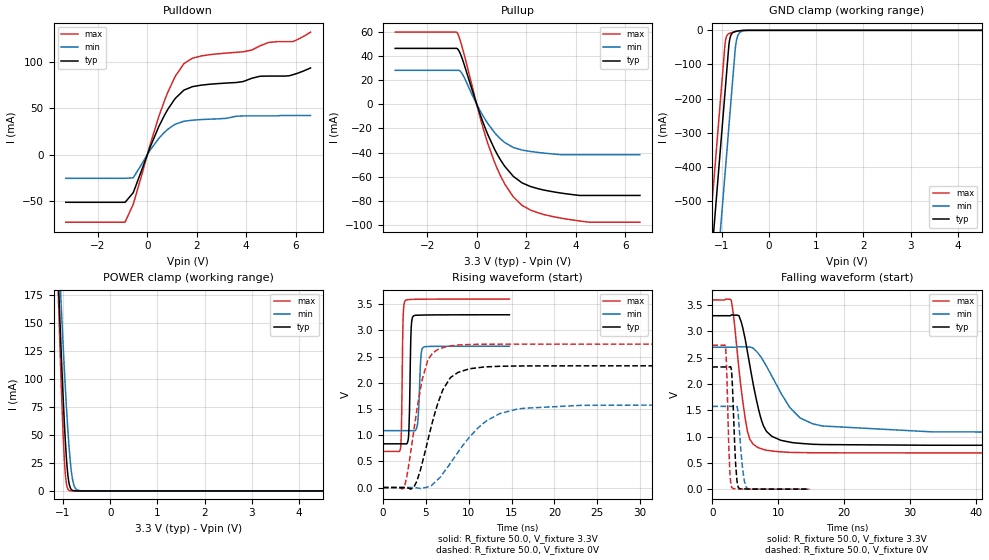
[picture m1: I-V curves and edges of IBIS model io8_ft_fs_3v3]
| [Disclaimer]  This information is for modeling purpose only and is
| not guaranted. The information is subject to change without
| notice.
| [Copyright] Copyright 2025 STMicroelectronics Inc.
| From stm32c091_092_ufqfpn28.ibs, stm32c091_092_ufqfpn28, STMicroelectronics
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[Model]   io8_ft_fs_3v3
Model_type I/O
Polarity   Non-Inverting
Enable   Active-Low
| CAP_THRESHOLD on pad IOFT is "UDTCAPC" :
| Rising=30.0% of vddiom   Falling=70.0% of vddiom
| C_comp min and max val. don't necessarily correlate with the min and max pvt
| but are the smallest and greatest pad capacitance found.
| var   typ   min   max
C_comp   2.01489pF  1.96659pF  2.03944pF
|C_comp_pullup   1.19124pF  1.16071pF  1.16321pF
|C_comp_pulldown   823.64737fF  805.88762fF  876.23293fF
Vinl = 1.35V
Vinh = 1.8V
Vmeas = 1.65V   | Reference voltage for timing measurements
Cref  = 50.0pF   | Timing specification test load capacitance value
Rref  = 1.0MOhm   | Timing specification test load resistance value
Vref  = 1.815V   | Timing specification test load voltage
[Model Spec]
| TIME_THRESHOLD on pin ZIV12 is "CMOS" :
| Rising=50.0% of vdd   Falling=50.0% of vdd
Vinl 1.34770V 1.11370V 1.44970V
Vinh 1.77530V 1.49530V 1.90330V
| variable   typ   min   max
[Temperature Range] 25.0 125.0 -40.0
| variable   typ   min   max
[Voltage Range] 3.3V 2.7V 3.6V
| variable   typ   min   max
[POWER Clamp Reference] 3.3V 2.7V 3.6V
| variable   typ   min   max
[GND Clamp Reference] 0V 0V 0V
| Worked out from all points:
|   slope of the pulldown table from 0 to 0.495 V, typ, clamps not added: 15.4 ohm
|   slope of the pullup table from 0 to 0.495 V, typ, clamps not added: 18.2 ohm
|   GND clamp passes 1 mA (typ) near -0.60 V on its own axis
|   POWER clamp passes 1 mA (typ) near -0.81 V on its own axis
|   rising waveform, R_fixture 50.0, V_fixture 3.3V: 20-80 % time 171ps typ, 251ps min, 152ps max; typ from 0.835 V to 3.3 V
|   falling waveform, R_fixture 50.0, V_fixture 3.3V: 20-80 % time 2.37ns typ, 4.85ns min, 1.62ns max; typ from 3.3 V to 0.835 V
|   rising waveform, R_fixture 50.0, V_fixture 0V: 20-80 % time 2.39ns typ, 4.77ns min, 1.69ns max; typ from 0 V to 2.33 V
|   falling waveform, R_fixture 50.0, V_fixture 0V: 20-80 % time 458ps typ, 651ps min, 384ps max; typ from 2.33 V to 0 V
[POWER Clamp]
-3.3V     2.991A     2.543A     3.694A
-1.1V     191.1mA    222.7mA    177.1mA
-1.08V    169mA      204.2mA    149.9mA
-1.05V    136.9mA    176.9mA    110.9mA
-1.01V    96.55mA    141.6mA    64.02mA
-970mV    60.39mA    108.2mA    27.41mA
-930mV    31.08mA    77.43mA    7.282mA
-900mV    15.67mA    56.69mA    2.025mA
-860mV    4.779mA    33.42mA    315.2uA
-780mV    272.1uA    6.953mA    6.98uA
-670mV    4.467uA    374.2uA    36.58nA
6.6V      0A         0A         0A
[GND Clamp]
-3.3V     -4.209A    -4.449A    -4.067A
-1.25V    -724.3mA   -963.9mA   -582.3mA
-940mV    -197.3mA   -436.9mA   -55.31mA
-900mV    -129.3mA   -368.9mA   -18.05mA
-850mV    -45.25mA   -283.9mA   -9.777mA
-830mV    -25.62mA   -249.8mA   -8.529mA
-790mV    -10.15mA   -181.9mA   -6.665mA
-720mV    -3.762mA   -62.85mA   -4.025mA
-700mV    -3.047mA   -38.71mA   -3.371mA
-650mV    -1.786mA   -12.52mA   -1.967mA
-550mV    -403.5uA   -1.578mA   -350.4uA
6.6V      932.9pA    92.35nA    684.5pA
| variable   typ   min   max
[Pullup Reference] 3.3V 2.7V 3.6V
| variable   typ   min   max
[Pulldown Reference] 0V 0V 0V
[Pullup]
-3.3V     46.29mA    28.13mA    59.79mA
-800mV    46.22mA    28.13mA    59.47mA
-700mV    43.48mA    27.89mA    54.81mA
-560mV    36.14mA    24.25mA    45.14mA
270mV     -15.88mA   -10.16mA   -20.62mA
730mV     -37.54mA   -23.64mA   -48.39mA
1.14V     -51.54mA   -31.73mA   -66.22mA
1.48V     -59.67mA   -35.78mA   -76.65mA
1.83V     -65.01mA   -37.85mA   -83.65mA
2.51V     -70.03mA   -39.93mA   -90.06mA
3.88V     -74.77mA   -41.71mA   -95.78mA
6.6V      -75.45mA   -41.71mA   -97.6mA
[Pulldown]
-3.3V     -51.64mA   -25.66mA   -73.18mA
-900mV    -51.64mA   -25.66mA   -73.04mA
-570mV    -41.2mA    -25.04mA   -53.78mA
120mV     8.582mA    5.119mA    11.54mA
690mV     42.49mA    24.14mA    58.21mA
1.09V     59.44mA    32.3mA     82.71mA
1.48V     69.88mA    36.14mA    98.63mA
2.17V     75.22mA    37.94mA    106.8mA
3.88V     79.15mA    41.94mA    111.3mA
4.9V      85.07mA    41.94mA    121.4mA
5.88V     86.5mA     42.4mA     122.4mA
6.6V      93.9mA     42.4mA     132.7mA
[Ramp]
dV/dt_r 1.39501V/2.3884ns 945.13699mV/4.76824ns 1.64307V/1.68739ns
dV/dt_f 1.47884V/2.36712ns 968.21043mV/4.84799ns 1.74599V/1.62016ns
R_load = 50.0
| Removed startup time: 0s 0s 0s  .
| Removed end time: 14.75ns.
[Rising Waveform]
R_fixture   = 50.0
V_fixture   = 3.3V
V_fixture_min = 2.7V
V_fixture_max = 3.6V
0s        834.9mV    1.087V     689.8mV
2.05ns    834.9mV    1.087V     748mV
2.35ns    834.9mV    1.087V     3.204V
2.6ns     834.1mV    1.087V     3.571V
3ns       991.8mV    1.087V     3.589V
3.25ns    2.849V     1.087V     3.592V
3.5ns     3.265V     1.085V     3.594V
4.05ns    3.292V     1.227V     3.596V
4.7ns     3.294V     2.677V     3.597V
14.75ns   3.3V       2.7V       3.6V
| Removed startup time: 0s 0s 0s  .
| Removed end time: 149.775ns.
[Falling Waveform]
R_fixture   = 50.0
V_fixture   = 3.3V
V_fixture_min = 2.7V
V_fixture_max = 3.6V
0s        3.3V       2.7V       3.6V
2.875ns   3.313V     2.7V       3.584V
4.025ns   3.302V     2.71V      2.299V
4.9ns     2.902V     2.707V     1.418V
5.675ns   2.363V     2.703V     952.3mV
7.5ns     1.291V     2.491V     766mV
9.025ns   1.005V     2.15V      725.3mV
13.33ns   871.1mV    1.353V     695.7mV
16.65ns   848.2mV    1.202V     691.2mV
149.8ns   835.3mV    1.086V     690mV
| Removed startup time: 0s 0s 0s  .
| Removed end time: 149.75ns.
[Rising Waveform]
R_fixture   = 50.0
V_fixture   = 0V
V_fixture_min = 0V
V_fixture_max = 0V
0s        29.11nV    76.9nV     36.7nV
2.45ns    84.93uV    1.785uV    3.051mV
3.65ns    24.12mV    -278.5uV   1.139V
4.55ns    446.8mV    -16.66mV   2.03V
5.25ns    907.7mV    12.16mV    2.44V
6.95ns    1.852V     257.3mV    2.668V
8.85ns    2.204V     697.2mV    2.724V
13.6ns    2.316V     1.41V      2.738V
23.2ns    2.325V     1.57V      2.738V
149.8ns   2.325V     1.575V     2.738V
| Removed startup time: 0s 0s 0s  .
| Removed end time: 14.7ns.
[Falling Waveform]
R_fixture   = 50.0
V_fixture   = 0V
V_fixture_min = 0V
V_fixture_max = 0V
0s        2.325V     1.575V     2.739V
2ns       2.325V     1.575V     2.691V
2.2ns     2.325V     1.575V     2.189V
2.65ns    2.326V     1.575V     351.1mV
2.95ns    2.184V     1.575V     31.24mV
3.55ns    446.6mV    1.581V     5.905mV
3.95ns    27.58mV    1.377V     3.196mV
4.6ns     5.638mV    381.3mV    1.661mV
5.15ns    3.516mV    32.35mV    790.8uV
14.7ns    168.6uV    280.7uV    -340.9uV
